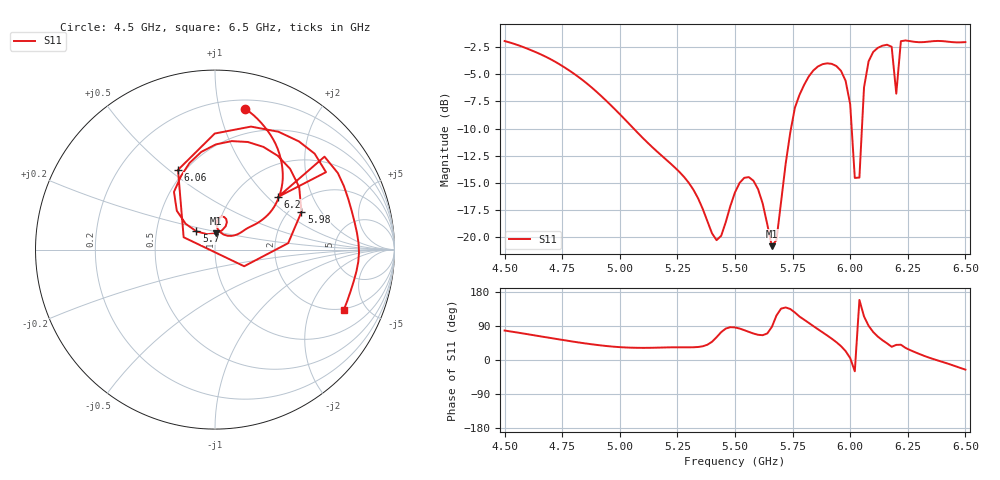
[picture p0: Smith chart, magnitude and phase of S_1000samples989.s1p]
! TOUCHSTONE file generated by CST MICROWAVE STUDIO
! Date and time: Sun Oct 30 00:36:56 2022
! Project name: L.cst
! Parameters = {Di=1.27; Epsilon_r=1.56; InnerDiameter=1.27; Length=2; Lf=10; Lg=60; OuterConductorThickness=0.2921; OuterDiameter=3.6; Wf=3; Wp=41.2; de=1.5; df=6.8; g=0.8; gx=2.66978; gy=3.25836; h=2.34; hf=1.524; px=14.7669; py=12.1642; w=9.7; wx=12.0971; wy=8.90584}
! Header version: 2018
! Port assignment regex: !\s*Touchstone port\s*([0-9]+)\s*=\s*(CST MWS port|CST DS port)\s*([0-9]+|Zmin|Zmax)\s*\(\"(.*)\"\)(\s*mode\s*([0-9]+))?.*
! Touchstone port assignment:
! Touchstone port 1 = CST MWS port 1 ("")
# GHz S DB R 50
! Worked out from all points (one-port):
!   101 points, 4.5 GHz to 6.5 GHz, reference 50 ohm
!   lowest |S11| = -20.9 dB at 5.66 GHz (marker M1), VSWR 1.20, Z = 49.6 + j9.05 ohm
!   |S11| at or under -10 dB: 5.06 GHz to 5.743 GHz (683.3 MHz wide, 12.6 % of centre); 6.007 GHz to 6.051 GHz (44.29 MHz wide, 0.735 % of centre)
!   S11 on the Smith chart (normalised r, x): 4.5 GHz: 0.27, +1.20; 5.7 GHz: 0.80, +0.17; 5.98 GHz: 2.32, +1.34; 6.06 GHz: 0.46, +0.54; 6.2 GHz: 1.56, +1.16; 6.5 GHz: 1.90, -3.47
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4.5  -1.92 77.8
4.76  -4.35 52.1
5  -8.68 33.9
5.26  -14.04 33.5
5.42  -20.31 60.1
5.5  -15.89 86.0
5.58  -14.82 69.9
5.66  -20.86 87.3
5.68  -20.28 117.5
5.7  -16.78 135.6
5.76  -8.08 125.4
5.82  -5.20 98.0
5.88  -4.06 73.0
5.94  -4.23 47.1
5.98  -5.59 23.5
6  -7.76 5.0
6.02  -14.56 -29.8
6.04  -14.53 158.5
6.06  -6.20 114.9
6.08  -3.79 90.1
6.1  -2.92 73.7
6.16  -2.26 43.9
6.18  -2.45 34.9
6.2  -6.78 39.9
6.22  -1.94 40.3
6.26  -1.93 26.2
6.38  -1.91 -1.2
6.5  -2.02 -25.3
